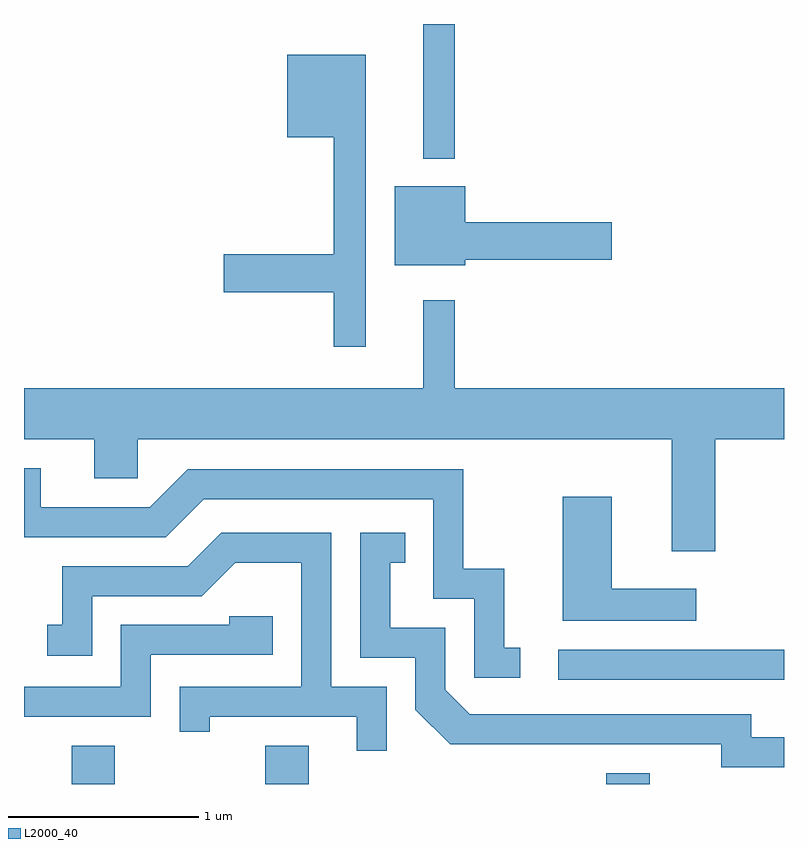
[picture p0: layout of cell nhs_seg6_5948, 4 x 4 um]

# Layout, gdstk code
import gdstk
lib = gdstk.Library(unit=1e-6, precision=1e-09)
def R(c, l, rs):  # rectangles x0, y0, x1, y1
    for r in rs: c.add(gdstk.rectangle(r[:2], r[2:], *l))
def P(c, l, *ps):  # polygons
    for p in ps: c.add(gdstk.Polygon(p, *l))
L2000_40 = (2000, 40)

nhs_seg6_5948 = lib.new_cell('nhs_seg6_5948')
R(nhs_seg6_5948, L2000_40, [(365.861,1608.162,366.089,1608.364), (366.881,1608.162,367.109,1608.364), (368.676,1608.162,368.904,1608.219), (368.423,1608.711,369.611,1608.869), (367.711,1611.453,367.879,1612.162)])
P(nhs_seg6_5948, L2000_40, [(367.409,1611.999),(366.996,1611.999),(366.996,1611.566),(367.241,1611.566),(367.241,1610.949),(366.661,1610.949),(366.661,1610.751),(367.241,1610.751),(367.241,1610.463),(367.409,1610.463)],
  [(367.934,1610.921),(368.704,1610.921),(368.704,1611.119),(367.934,1611.119),(367.934,1611.309),(367.561,1611.309),(367.561,1610.891),(367.934,1610.891)],
  [(369.249,1609.976),(369.611,1609.976),(369.611,1610.244),(367.879,1610.244),(367.879,1610.708),(367.711,1610.708),(367.711,1610.244),(365.611,1610.244),(365.611,1609.976),(365.981,1609.976),(365.981,1609.771),(366.209,1609.771),(366.209,1609.976),(369.021,1609.976),(369.021,1609.386),(369.249,1609.386)],
  [(368.223,1608.879),(368.139,1608.879),(368.139,1609.294),(367.924,1609.294),(367.924,1609.819),(366.474,1609.819),(366.274,1609.619),(365.699,1609.619),(365.699,1609.824),(365.611,1609.824),(365.611,1609.461),(366.357,1609.461),(366.557,1609.661),(367.766,1609.661),(367.766,1609.136),(367.981,1609.136),(367.981,1608.721),(368.223,1608.721)],
  [(369.148,1609.189),(368.704,1609.189),(368.704,1609.674),(368.446,1609.674),(368.446,1609.021),(369.148,1609.021)],
  [(367.519,1608.674),(367.229,1608.674),(367.229,1609.484),(366.649,1609.484),(366.474,1609.309),(365.811,1609.309),(365.811,1608.999),(365.733,1608.999),(365.733,1608.836),(365.969,1608.836),(365.969,1609.151),(366.547,1609.151),(366.722,1609.326),(367.071,1609.326),(367.071,1608.674),(366.431,1608.674),(366.431,1608.438),(366.589,1608.438),(366.589,1608.516),(367.361,1608.516),(367.361,1608.338),(367.519,1608.338)],
  [(369.611,1608.409),(369.439,1608.409),(369.439,1608.529),(367.957,1608.529),(367.829,1608.657),(367.829,1608.984),(367.539,1608.984),(367.539,1609.326),(367.618,1609.326),(367.618,1609.484),(367.381,1609.484),(367.381,1608.826),(367.671,1608.826),(367.671,1608.554),(367.854,1608.371),(369.281,1608.371),(369.281,1608.251),(369.611,1608.251)],
  [(366.279,1608.841),(366.919,1608.841),(366.919,1609.044),(366.691,1609.044),(366.691,1608.999),(366.121,1608.999),(366.121,1608.674),(365.611,1608.674),(365.611,1608.516),(366.279,1608.516)])

lib.write_gds('nhs_seg6_5948.gds')
